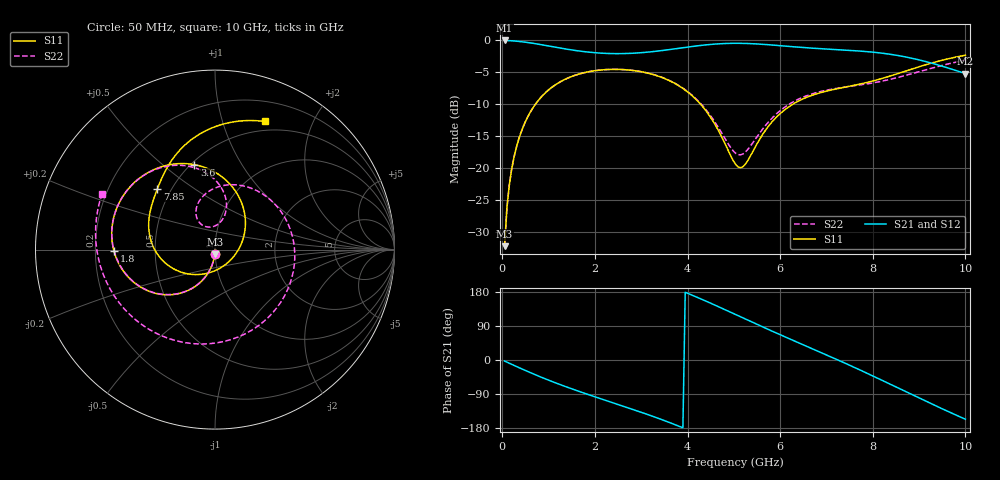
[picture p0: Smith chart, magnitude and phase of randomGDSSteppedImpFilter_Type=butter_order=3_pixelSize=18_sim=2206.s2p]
! freq	dB(S11)	phase(S11)	dB(S12)	phase(S12)
!  dB(S21)	phase(S21)	dB(S22)	phase(S22)
!S-par simulation data
#  GHz  S  DB  R 50
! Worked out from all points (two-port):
!   200 points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, 50 MHz to 10 GHz, reference 50 ohm
!   highest |S21| = -0.01 dB at 50 MHz (marker M1); lowest = -5.2 dB at 10 GHz (marker M2)
!   |S21| within 3 dB of the highest: start of sweep to 8.979 GHz
!   lowest |S11| = -32.1 dB at 50 MHz (marker M3), VSWR 1.05, Z = 49.8 - j2.46 ohm
!   |S11| at or under -10 dB: start of sweep to 712.4 MHz; 4.285 GHz to 6.266 GHz (1.981 GHz wide, 37.6 % of centre)
!   |S22| runs from -32.1 to -3.1 dB; largest |S21 - S12| = 0
!   S11 on the Smith chart (normalised r, x): 50 MHz: 1.00, -0.05; 1.8 GHz: 0.28, -0.01; 3.6 GHz: 0.52, +0.65; 7.85 GHz: 0.42, +0.37; 10 GHz: 0.40, +1.38
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0.05  -32.14 -93.0  -0.01 -2.9  -0.01 -2.9  -32.14 -93.0
0.1  -26.14 -96.0  -0.02 -5.7  -0.02 -5.7  -26.14 -96.0
0.2  -20.22 -101.8  -0.06 -11.3  -0.06 -11.3  -20.22 -101.9
0.5  -12.67 -118.2  -0.28 -27.7  -0.28 -27.7  -12.67 -118.4
1.05  -7.43 -146.0  -0.94 -55.6  -0.94 -55.6  -7.44 -146.3
1.75  -5.07 -177.1  -1.74 -86.7  -1.74 -86.7  -5.07 -177.5
1.8  -4.99 -179.2  -1.78 -88.8  -1.78 -88.8  -4.99 -179.6
2.55  -4.54 150.2  -2.07 -119.3  -2.07 -119.3  -4.53 150.3
3.4  -5.66 113.3  -1.63 -155.3  -1.63 -155.3  -5.64 116.0
3.6  -6.25 103.6  -1.44 -164.5  -1.44 -164.5  -6.23 107.8
4.35  -10.56 59.6  -0.73 158.0  -0.73 158.0  -10.40 79.2
5.05  -19.47 -28.9  -0.45 119.3  -0.45 119.3  -17.68 91.6
5.25  -19.32 -76.8  -0.47 108.0  -0.47 108.0  -17.43 109.8
5.8  -12.94 -146.0  -0.70 77.6  -0.70 77.6  -12.32 115.9
6.7  -8.55 167.3  -1.21 29.5  -1.21 29.5  -8.33 69.4
7.3  -7.44 147.4  -1.47 -2.8  -1.47 -2.8  -7.40 26.4
7.85  -6.61 133.3  -1.74 -33.5  -1.74 -33.5  -6.82 -20.0
8.35  -5.62 121.3  -2.14 -62.4  -2.14 -62.4  -6.13 -66.1
8.7  -4.81 111.9  -2.57 -82.9  -2.57 -82.9  -5.48 -98.5
9.05  -4.00 101.3  -3.13 -103.2  -3.13 -103.2  -4.78 -129.8
9.55  -3.01 84.6  -4.14 -131.6  -4.14 -131.6  -3.81 -171.6
10  -2.32 68.8  -5.19 -156.3  -5.19 -156.3  -3.07 153.7
